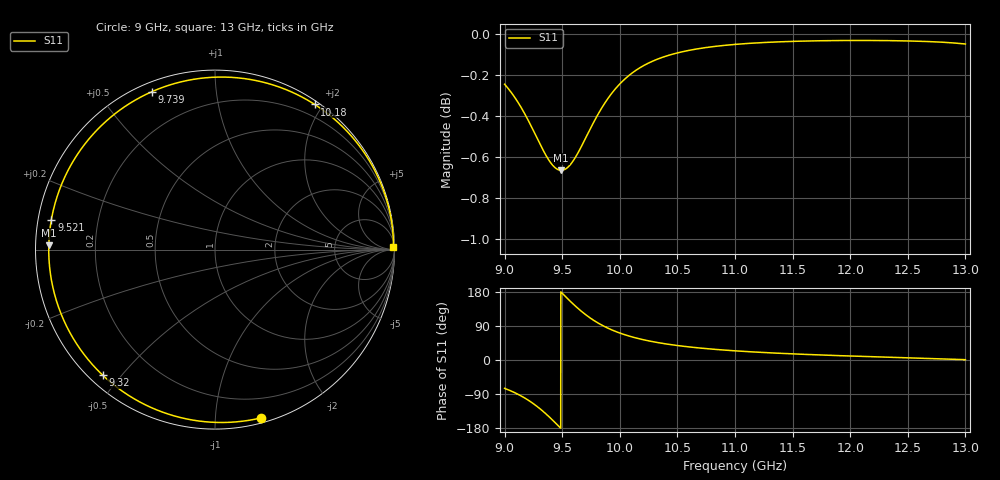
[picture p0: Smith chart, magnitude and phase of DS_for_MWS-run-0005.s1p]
! TOUCHSTONE file generated by CST DESIGN STUDIO
! Date and time: Tue Feb  4 12:46:51 2025
! Project name: C:\Work\MatlabApps\UnitCellOptimizationMatlab\CST\unitcell.cst
! Tree item: Tasks\Sweep1\SPara1\S-Parameters
! Header version: 2024
! Port assignment regex: !\s*Touchstone port\s*([0-9]+)\s*=\s*(CST MWS port|CST DES external port|CST DES block port)\s*(.+)\s* \(\"(.*)\"\)(\s*mode\s*([0-9]+))?.*
! Touchstone port assignment:
! Touchstone port 1 = CST DES external port 1 ("")
# GHz S MA R 50
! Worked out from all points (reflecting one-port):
!   4001 points, 9 GHz to 13 GHz, reference 50 ohm
!   lowest |S11| = -0.7 dB at 9.492 GHz (marker M1), VSWR 26.16, Z = 1.91 + j0.653 ohm
!   phase of S11 starts at -75 deg and turns -284 deg over the sweep
!   S11 on the Smith chart (normalised r, x): 9 GHz: 0.04, -1.31; 9.32 GHz: 0.04, -0.45; 9.521 GHz: 0.04, +0.09; 9.739 GHz: 0.04, +0.68; 10.18 GHz: 0.04, +1.90; 13 GHz: open
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9  0.9721 -74.9
9.084  0.9653 -85.7
9.184  0.9551 -102.0
9.255  0.9466 -116.4
9.32  0.9386 -131.9
9.366  0.9334 -144.1
9.414  0.9292 -157.9
9.454  0.9271 -169.9
9.492  0.9264 178.5
9.5  0.9264 176.1
9.521  0.9268 169.6
9.573  0.9295 154.1
9.633  0.935 137.3
9.685  0.941 124.0
9.739  0.9476 111.7
9.792  0.9538 101.1
9.85  0.96 91.1
9.924  0.9667 80.3
10  0.9723 71.1
10.175  0.9811 55.5
10.323  0.9857 46.3
10.5  0.9893 38.2
10.722  0.992 30.8
11  0.994 24.2
11.5  0.9957 16.2
12  0.9962 10.5
12.5  0.9959 5.8
13  0.9942 0.8
